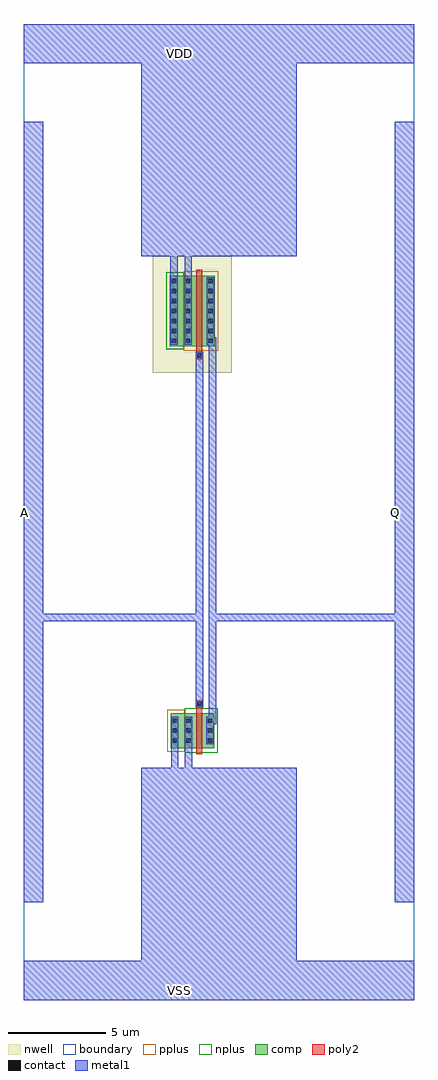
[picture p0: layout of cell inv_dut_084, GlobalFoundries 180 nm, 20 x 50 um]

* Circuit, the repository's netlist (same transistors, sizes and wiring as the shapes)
* inv_dut_084: pfet_03v3 W=3.60u L=0.30u / nfet_03v3 W=1.80u L=0.30u
.SUBCKT inv_dut_084 A Q VDD VSS
MMP Q A VDD VDD pfet_03v3 W=3.60u L=0.30u
MMN Q A VSS VSS nfet_03v3 W=1.80u L=0.30u
.ENDS

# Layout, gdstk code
import gdstk
lib = gdstk.Library(unit=1e-6, precision=1e-09)
def R(c, l, rs):  # rectangles x0, y0, x1, y1
    for r in rs: c.add(gdstk.rectangle(r[:2], r[2:], *l))
def A(c, l, x, y, w, h, nx, ny, dx, dy):  # array of equal rectangles
    R(c, l, [(x+i*dx, y+j*dy, x+i*dx+w, y+j*dy+h) for i in range(nx) for j in range(ny)])
def P(c, l, *ps):  # polygons
    for p in ps: c.add(gdstk.Polygon(p, *l))
boundary = (0, 0)
nwell = (21, 0)
comp = (22, 0)
poly2 = (30, 0)
pplus = (31, 0)
nplus = (32, 0)
contact = (33, 0)
metal1 = (34, 0)

inv_dut_084 = lib.new_cell('inv_dut_084')
R(inv_dut_084, boundary, [(-10,-25,10,25)])
R(inv_dut_084, nwell, [(-3.395,7.13,0.655,13.09)])
R(inv_dut_084, comp, [(-2.475,-12.1,-0.245,-10.3), (-2.535,8.5,-0.205,12.1)])
P(inv_dut_084, poly2, [(-1.155,-12.4),(-1.155,-10),(-1.185,-10),(-1.185,-9.64),(-0.825,-9.64),(-0.825,-10),(-0.855,-10),(-0.855,-12.4)],
  [(-1.195,7.82),(-1.195,8.2),(-1.155,8.2),(-1.155,12.4),(-0.855,12.4),(-0.855,8.2),(-0.815,8.2),(-0.815,7.82)])
R(inv_dut_084, pplus, [(-2.645,-12.27,-1.765,-10.13), (-1.805,8.26,-0.035,12.34)])
R(inv_dut_084, nplus, [(-1.765,-12.34,-0.075,-10.06), (-2.705,8.33,-1.805,12.27)])
A(inv_dut_084, contact, -2.375, -11.82, 0.22, 0.22, 1, 3, 0, 0.51)
A(inv_dut_084, contact, -1.665, -11.82, 0.22, 0.22, 1, 3, 0, 0.51)
A(inv_dut_084, contact, -0.565, -11.82, 0.22, 0.22, 1, 3, 0, 0.51)
A(inv_dut_084, contact, -2.415, 8.66, 0.22, 0.22, 1, 7, 0, 0.51)
A(inv_dut_084, contact, -1.685, 8.66, 0.22, 0.22, 1, 7, 0, 0.51)
A(inv_dut_084, contact, -0.545, 8.66, 0.22, 0.22, 1, 7, 0, 0.51)
R(inv_dut_084, contact, [(-1.115,-9.93,-0.895,-9.71), (-1.115,7.9,-0.895,8.12)])
R(inv_dut_084, metal1, [(-10,-25,10,-23), (-3.995,-23,3.995,-13.4), (-10,-20,-9,20), (9,-20,10,20), (-3.995,-13.7,3.995,-13.1), (-2.455,-13.7,-2.075,-10.5), (-1.745,-13.7,-1.365,-10.5), (-2.455,-11.9,-2.075,-10.5), (-1.745,-11.9,-1.365,-10.5), (-0.645,-11.9,-0.265,-10.5), (-0.645,-10.88,-0.135,-10.5), (-0.515,-10.88,-0.135,8.96), (-1.195,-10.01,-0.815,8.2), (-1.195,-10.01,-0.815,-9.63), (-9,-5.6,-3.695,-5.2), (-3.995,-5.6,-0.815,-5.2), (-0.515,-5.6,3.995,-5.2), (3.695,-5.6,9,-5.2), (-1.195,7.82,-0.815,8.2), (-2.495,8.58,-2.115,13.7), (-2.495,8.58,-2.115,12.02), (-1.765,8.58,-1.385,13.7), (-1.765,8.58,-1.385,12.02), (-0.625,8.58,-0.135,8.96), (-0.625,8.58,-0.245,12.02), (-3.995,13.1,3.995,13.7), (-3.995,13.4,3.995,23), (-10,23,10,25)])
inv_dut_084.add(gdstk.Label('VDD', (-2,23.5), layer=34, texttype=10))
inv_dut_084.add(gdstk.Label('VSS', (-2,-24.5), layer=34, texttype=10))
inv_dut_084.add(gdstk.Label('A', (-9.97,0), layer=34, texttype=10))
inv_dut_084.add(gdstk.Label('Q', (9.03,0), layer=34, texttype=10))

lib.write_gds('inv_dut_084.gds')
